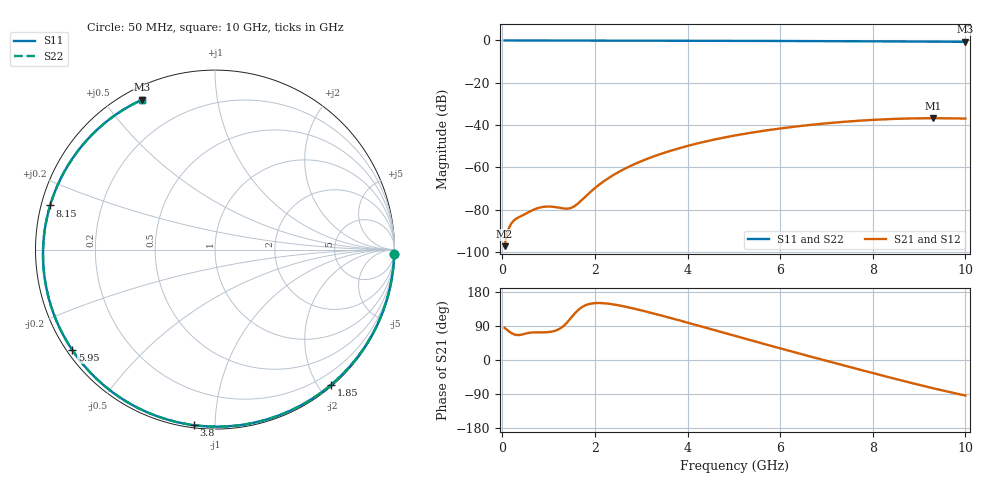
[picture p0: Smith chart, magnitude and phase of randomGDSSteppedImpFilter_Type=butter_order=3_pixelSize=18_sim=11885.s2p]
! freq	dB(S11)	phase(S11)	dB(S12)	phase(S12)
!  dB(S21)	phase(S21)	dB(S22)	phase(S22)
!S-par simulation data
#  GHz  S  DB  R 50
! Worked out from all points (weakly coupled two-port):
!   200 points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, 50 MHz to 10 GHz, reference 50 ohm
!   highest |S21| = -36.77 dB at 9.3 GHz (marker M1); lowest = -97.3 dB at 50 MHz (marker M2)
!   lowest |S11| = -0.6 dB at 10 GHz (marker M3), VSWR 27.12, Z = 2.56 + j31.2 ohm
!   |S11| at or under -10 dB: nowhere
!   |S22| runs from -0.6 to 0.0 dB; largest |S21 - S12| = 0
!   S11 on the Smith chart (normalised r, x): 50 MHz: 2, -87; 1.85 GHz: 0.02, -2.18; 3.8 GHz: 0.01, -0.89; 5.95 GHz: 0.02, -0.32; 8.15 GHz: 0.03, +0.13; 10 GHz: 0.05, +0.62
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0.05  -0.00 -1.3  -97.26 84.8  -97.26 84.8  -0.00 -1.3
0.65  -0.02 -17.6  -80.29 72.7  -80.29 72.7  -0.02 -17.6
1  -0.03 -27.0  -78.51 73.7  -78.51 73.7  -0.03 -27.0
1.45  -0.05 -39.0  -79.39 106.2  -79.39 106.2  -0.05 -38.9
1.6  -0.05 -42.9  -77.70 127.4  -77.70 127.4  -0.05 -42.8
1.75  -0.06 -46.8  -74.77 141.7  -74.77 141.7  -0.06 -46.7
1.85  -0.06 -49.3  -72.70 146.8  -72.70 146.8  -0.06 -49.3
2.15  -0.07 -57.0  -67.24 150.2  -67.24 150.2  -0.07 -57.0
2.5  -0.08 -65.8  -62.35 144.5  -62.35 144.5  -0.08 -65.7
2.9  -0.10 -75.6  -58.03 134.0  -58.03 134.0  -0.10 -75.6
3.4  -0.11 -87.6  -53.82 118.5  -53.82 118.5  -0.11 -87.5
3.8  -0.13 -96.9  -51.08 105.4  -51.08 105.4  -0.13 -96.9
4.4  -0.15 -110.6  -47.72 85.0  -47.72 85.0  -0.15 -110.6
5.05  -0.19 -125.1  -44.83 62.8  -44.83 62.8  -0.19 -125.1
5.95  -0.24 -144.9  -41.77 32.4  -41.77 32.4  -0.24 -144.9
6.7  -0.30 -161.5  -39.83 7.6  -39.83 7.6  -0.30 -161.5
7.45  -0.37 -178.5  -38.35 -16.7  -38.35 -16.7  -0.37 -178.4
8.15  -0.44 165.0  -37.38 -39.2  -37.38 -39.2  -0.44 165.0
8.35  -0.46 160.1  -37.19 -45.5  -37.19 -45.5  -0.46 160.1
8.8  -0.51 148.8  -36.89 -59.5  -36.89 -59.5  -0.51 148.8
9.3  -0.56 135.6  -36.77 -74.5  -36.77 -74.5  -0.56 135.6
10  -0.64 115.9  -36.95 -93.7  -36.95 -93.7  -0.64 115.9
